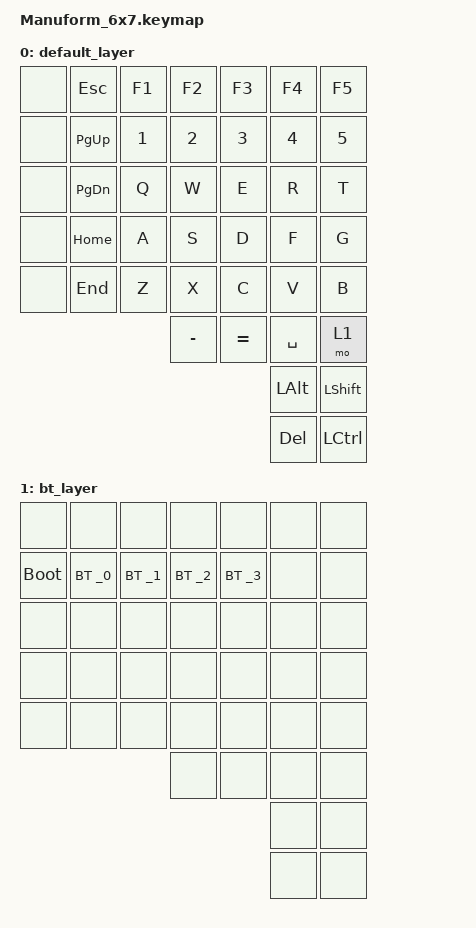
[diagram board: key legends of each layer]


/{
    keymap {
        compatible = "zmk,keymap";

        default_layer {
            bindings = <
                &none       &kp ESC     &kp F1      &kp F2      &kp F3      &kp F4      &kp F5      
                &none       &kp PG_UP   &kp N1      &kp N2      &kp N3      &kp N4      &kp N5
                &none       &kp PG_DN   &kp Q       &kp W       &kp E       &kp R       &kp T
                &none       &kp HOME    &kp A       &kp S       &kp D       &kp F       &kp G
                &none       &kp END     &kp Z       &kp X       &kp C       &kp V       &kp B
                                                    &kp MINUS   &kp EQUAL   &kp SPACE   &mo 1
                                                                            &kp LALT    &kp LSHFT
                                                                            &kp DEL     &kp LCTRL
            >;
        };

        bt_layer {
            bindings = <
                &none           &none           &none           &none           &none           &none           &none
                &bootloader     &bt BT_SEL_0    &bt BT_SEL_1    &bt BT_SEL_2    &bt BT_SEL_3    &none           &none
                &none           &none           &none           &none           &none           &none           &none
                &none           &none           &none           &none           &none           &none           &none
                &none           &none           &none           &none           &none           &none           &none
                                                                &none           &none           &none           &none
                                                                                                &none           &none
                                                                                                &none           &none
            >;
        };
    };
};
